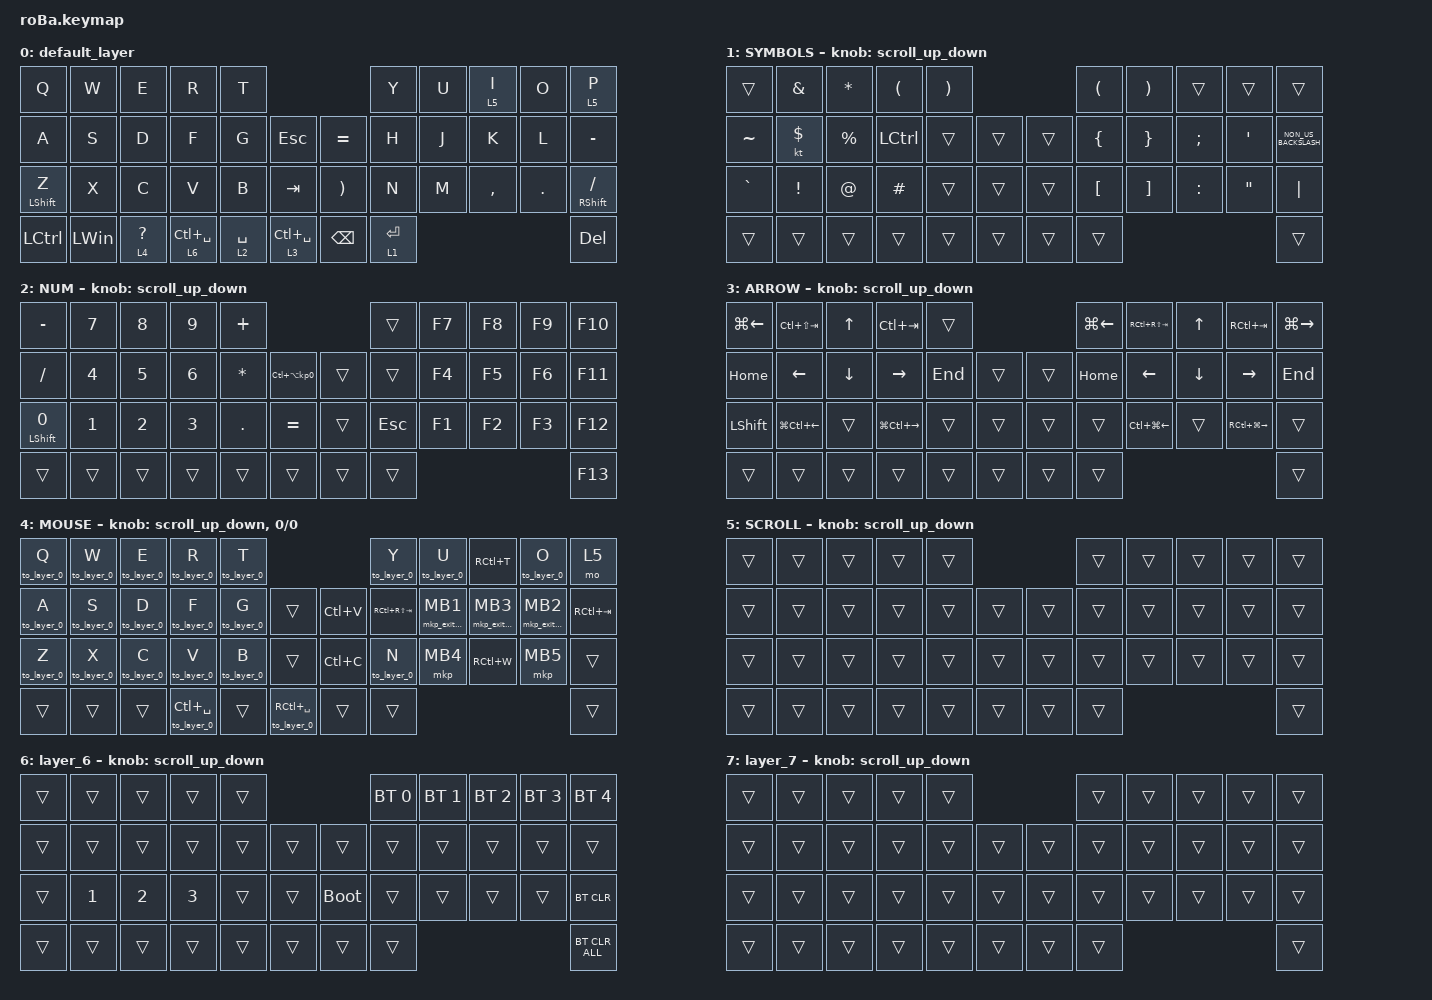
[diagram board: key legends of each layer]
#include <behaviors.dtsi>
#include <dt-bindings/zmk/bt.h>
#include <dt-bindings/zmk/keys.h>
#include <dt-bindings/zmk/pointing.h>

&mt {
    flavor = "balanced";
    quick-tap-ms = <0>;
};

&trackball {
    automouse-layer = <4>;
    scroll-layers = <5>;

    // arrows {
    //     layers = <3>;
    //     bindings =
    //         <&kp RIGHT_ARROW>,
    //         <&kp LEFT_ARROW>,
    //         <&kp UP_ARROW>,
    //         <&kp DOWN_ARROW>;
    //     tick = <10>;
    //     wait-ms = <5>;
    //     tap-ms = <5>;
    // };
};

/ {
    combos {
        compatible = "zmk,combos";

        tab {
            bindings = <&kp TAB>;
            key-positions = <11 12>;
        };

        shift_tab {
            bindings = <&kp LS(TAB)>;
            key-positions = <12 13>;
        };

        muhennkann {
            bindings = <&to_layer_0 INT_MUHENKAN>;
            key-positions = <11 10>;
        };

        double_quotation {
            bindings = <&kp DOUBLE_QUOTES>;
            key-positions = <20 21>;
        };

        eq {
            bindings = <&kp EQUAL>;
            key-positions = <24 25>;
        };
    };

    macros {
        to_layer_0: to_layer_0 {
            compatible = "zmk,behavior-macro-one-param";
            #binding-cells = <1>;
            bindings = <&to 0 &macro_param_1to1 &kp MACRO_PLACEHOLDER>;
            label = "TO_LAYER_0";
        };

        mkp_exit_AML: mkp_exit_AML {
            compatible = "zmk,behavior-macro-one-param";
            #binding-cells = <1>;
            bindings =
                <&macro_press>,
                <&macro_param_1to1 &mkp MACRO_PLACEHOLDER>,
                <&macro_pause_for_release>,
                <&macro_release>,
                <&macro_param_1to1 &mkp MACRO_PLACEHOLDER>,
                <&macro_tap>,
                <&sl 4>;

            label = "MKP_EXIT_AML";
        };
    };

    behaviors {
        scroll_up_down: behavior_sensor_rotate_mouse_wheel_up_down {
            compatible = "zmk,behavior-sensor-rotate";
            #sensor-binding-cells = <0>;
            bindings = <&msc SCRL_DOWN>, <&msc SCRL_UP>;

            // 追加: スクロールのタップ時間を設定 (20ms)

            tap-ms = <20>;
        };

        new_behavior: new_behavior {
            compatible = "zmk,behavior-sensor-rotate";
            #sensor-binding-cells = <0>;
            bindings = <&msc MOVE_Y(5)>, <&msc MOVE_Y(-5)>;

            tap-ms = <5>;
            label = "NEW_BEHAVIOR";
        };
    };

    keymap {
        compatible = "zmk,keymap";

        default_layer {
            bindings = <
&kp Q             &kp W         &kp E           &kp R            &kp T                                                    &kp Y        &kp U  &lt 5 I    &kp O    &lt 5 P
&kp A             &kp S         &kp D           &kp F            &kp G        &kp ESC              &kp EQUAL              &kp H        &kp J  &kp K      &kp L    &kp MINUS
&mt LEFT_SHIFT Z  &kp X         &kp C           &kp V            &kp B        &kp TAB              &kp RIGHT_PARENTHESIS  &kp N        &kp M  &kp COMMA  &kp DOT  &mt RSHIFT SLASH
&kp LCTRL         &kp LEFT_WIN  &lt 4 QUESTION  &lt 6 LC(SPACE)  &lt 2 SPACE  &lt 3 LC(SPACE)      &kp BACKSPACE          &lt 1 ENTER                             &kp DEL
            >;
        };

        SYMBOLS {
            bindings = <
&trans     &kp AMPERSAND    &kp ASTERISK  &kp LEFT_PARENTHESIS  &kp RIGHT_PARENTHESIS                      &kp LEFT_PARENTHESIS  &kp RIGHT_PARENTHESIS  &trans         &trans             &trans
&kp TILDE  &kt DOLLAR       &kp PERCENT   &kp LCTRL             &trans                 &trans      &trans  &kp LEFT_BRACE        &kp RIGHT_BRACE        &kp SEMICOLON  &kp SQT            &kp NON_US_BACKSLASH
&kp GRAVE  &kp EXCLAMATION  &kp AT_SIGN   &kp POUND             &trans                 &trans      &trans  &kp LEFT_BRACKET      &kp RIGHT_BRACKET      &kp COLON      &kp DOUBLE_QUOTES  &kp PIPE
&trans     &trans           &trans        &trans                &trans                 &trans      &trans  &trans                                                                         &trans
            >;

            sensor-bindings = <&scroll_up_down>;
        };

        NUM {
            bindings = <
&kp MINUS          &kp N7        &kp N8        &kp N9        &kp PLUS                                           &trans      &kp F7  &kp F8  &kp F9  &kp F10
&kp SLASH          &kp NUMBER_4  &kp N5        &kp NUMBER_6  &kp ASTERISK  &kp LC(LA(KP_NUMBER_0))      &trans  &trans      &kp F4  &kp F5  &kp F6  &kp F11
&mt LEFT_SHIFT N0  &kp NUMBER_1  &kp NUMBER_2  &kp NUMBER_3  &kp DOT       &kp EQUAL                    &trans  &kp ESCAPE  &kp F1  &kp F2  &kp F3  &kp F12
&trans             &trans        &trans        &trans        &trans        &trans                       &trans  &trans                              &kp F13
            >;

            sensor-bindings = <&scroll_up_down>;
        };

        ARROW {
            bindings = <
&kp LG(LEFT_ARROW)  &kp LC(LS(TAB))         &kp UP_ARROW    &kp LC(TAB)              &trans                       &kp LG(LEFT_ARROW)  &kp RC(RS(TAB))         &kp UP_ARROW    &kp RC(TAB)              &kp LG(RIGHT_ARROW)
&kp HOME            &kp LEFT_ARROW          &kp DOWN_ARROW  &kp RIGHT_ARROW          &kp END  &trans      &trans  &kp HOME            &kp LEFT_ARROW          &kp DOWN_ARROW  &kp RIGHT_ARROW          &kp END
&kp LEFT_SHIFT      &kp LG(LC(LEFT_ARROW))  &trans          &kp LG(LC(RIGHT_ARROW))  &trans   &trans      &trans  &trans              &kp LC(LG(LEFT_ARROW))  &trans          &kp RC(LG(RIGHT_ARROW))  &trans
&trans              &trans                  &trans          &trans                   &trans   &trans      &trans  &trans                                                                               &trans
            >;

            sensor-bindings = <&scroll_up_down>;
        };

        MOUSE {
            bindings = <
&to_layer_0 Q  &to_layer_0 W  &to_layer_0 E  &to_layer_0 R          &to_layer_0 T                                        &to_layer_0 Y    &to_layer_0 U      &kp RC(T)          &to_layer_0 O      &mo 5
&to_layer_0 A  &to_layer_0 S  &to_layer_0 D  &to_layer_0 F          &to_layer_0 G  &trans                     &kp LC(V)  &kp RC(RS(TAB))  &mkp_exit_AML MB1  &mkp_exit_AML MB3  &mkp_exit_AML MB2  &kp RC(TAB)
&to_layer_0 Z  &to_layer_0 X  &to_layer_0 C  &to_layer_0 V          &to_layer_0 B  &trans                     &kp LC(C)  &to_layer_0 N    &mkp MB4           &kp RC(W)          &mkp MB5           &trans
&trans         &trans         &trans         &to_layer_0 LC(SPACE)  &trans         &to_layer_0 RC(SPACE)      &trans     &trans                                                                    &trans
            >;

            sensor-bindings = <&scroll_up_down>, <&inc_dec_kp 0 0>;
        };

        SCROLL {
            bindings = <
&trans  &trans  &trans  &trans  &trans                      &trans  &trans  &trans  &trans  &trans
&trans  &trans  &trans  &trans  &trans  &trans      &trans  &trans  &trans  &trans  &trans  &trans
&trans  &trans  &trans  &trans  &trans  &trans      &trans  &trans  &trans  &trans  &trans  &trans
&trans  &trans  &trans  &trans  &trans  &trans      &trans  &trans                          &trans
            >;

            sensor-bindings = <&scroll_up_down>;
        };

        layer_6 {
            bindings = <
&trans  &trans        &trans        &trans        &trans                           &bt BT_SEL 0  &bt BT_SEL 1  &bt BT_SEL 2  &bt BT_SEL 3  &bt BT_SEL 4
&trans  &trans        &trans        &trans        &trans  &trans      &trans       &trans        &trans        &trans        &trans        &trans
&trans  &kp NUMBER_1  &kp NUMBER_2  &kp NUMBER_3  &trans  &trans      &bootloader  &trans        &trans        &trans        &trans        &bt BT_CLR
&trans  &trans        &trans        &trans        &trans  &trans      &trans       &trans                                                  &bt BT_CLR_ALL
            >;

            sensor-bindings = <&scroll_up_down>;
        };

        layer_7 {
            bindings = <
&trans  &trans  &trans  &trans  &trans                      &trans  &trans  &trans  &trans  &trans
&trans  &trans  &trans  &trans  &trans  &trans      &trans  &trans  &trans  &trans  &trans  &trans
&trans  &trans  &trans  &trans  &trans  &trans      &trans  &trans  &trans  &trans  &trans  &trans
&trans  &trans  &trans  &trans  &trans  &trans      &trans  &trans                          &trans
            >;

            sensor-bindings = <&scroll_up_down>;
        };
    };
};
